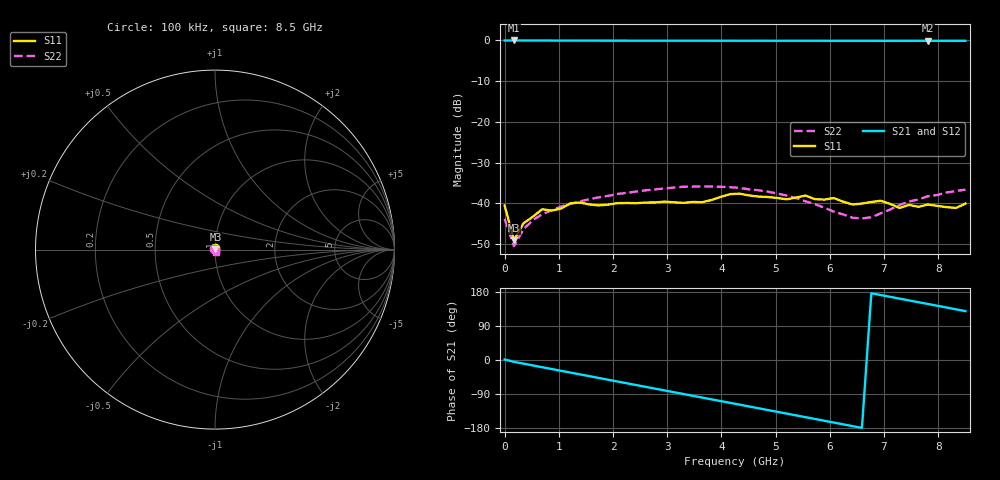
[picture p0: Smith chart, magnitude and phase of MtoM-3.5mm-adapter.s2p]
# Hz S DB R 50.0000
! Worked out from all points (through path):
!   50 points, 100 kHz to 8.5 GHz, reference 50 ohm
!   highest |S21| = -0.02 dB at 173.6 MHz (marker M1); lowest = -0.1 dB at 7.806 GHz (marker M2)
!   group delay of S21, straight-line fit = 75.5 ps
!   lowest |S11| = -49.0 dB at 173.6 MHz (marker M3), VSWR 1.01, Z = 50.2 + j0.286 ohm
!   |S11| at or under -10 dB: start of sweep to end of sweep
!   |S22| runs from -50.5 to -35.8 dB; largest |S21 - S12| = 0.024
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100000  -40.50 97.2  -0.03 1.4  -0.02 0.0  -43.78 168.4
1.735673e8  -49.00 53.4  -0.02 -4.8  -0.01 -4.8  -50.47 61.5
3.470347e8  -44.88 47.9  -0.03 -9.6  -0.02 -9.6  -46.33 55.2
6.939694e8  -41.42 31.9  -0.04 -19.1  -0.04 -19.0  -42.65 41.7
8.674367e8  -41.75 31.0  -0.05 -23.8  -0.05 -23.8  -41.67 36.5
1.214371e9  -39.95 23.8  -0.06 -33.2  -0.05 -33.2  -40.11 29.7
1.561306e9  -40.23 8.7  -0.07 -42.6  -0.06 -42.6  -38.95 22.7
2.255176e9  -39.88 -5.6  -0.08 -61.4  -0.07 -61.4  -37.39 10.2
2.949045e9  -39.56 -29.5  -0.08 -80.3  -0.08 -80.3  -36.32 -4.3
3.642914e9  -39.71 -50.4  -0.09 -99.1  -0.09 -99.1  -35.82 -22.1
4.336784e9  -37.60 -68.1  -0.10 -117.8  -0.09 -118.0  -36.19 -39.4
5.030653e9  -38.66 -73.6  -0.10 -136.8  -0.10 -136.8  -37.57 -55.2
5.551055e9  -38.06 -76.5  -0.10 -150.9  -0.10 -150.9  -39.47 -64.8
5.724522e9  -38.94 -77.4  -0.10 -155.6  -0.10 -155.7  -40.15 -66.1
6.071457e9  -38.68 -70.8  -0.11 -165.0  -0.10 -165.0  -41.99 -65.6
6.418392e9  -40.26 -67.8  -0.11 -174.5  -0.11 -174.4  -43.51 -56.4
6.765327e9  -39.64 -72.5  -0.11 176.1  -0.10 176.1  -43.40 -43.9
7.112261e9  -40.11 -73.7  -0.11 166.7  -0.11 166.7  -41.50 -37.1
7.285729e9  -41.11 -75.0  -0.11 162.0  -0.11 162.0  -40.37 -34.0
7.806131e9  -40.26 -62.4  -0.12 147.9  -0.11 147.8  -38.24 -46.9
8.326533e9  -41.10 -58.7  -0.11 133.7  -0.11 133.7  -36.96 -59.4
8.5e9  -40.04 -59.0  -0.10 129.0  -0.11 128.9  -36.59 -64.9
